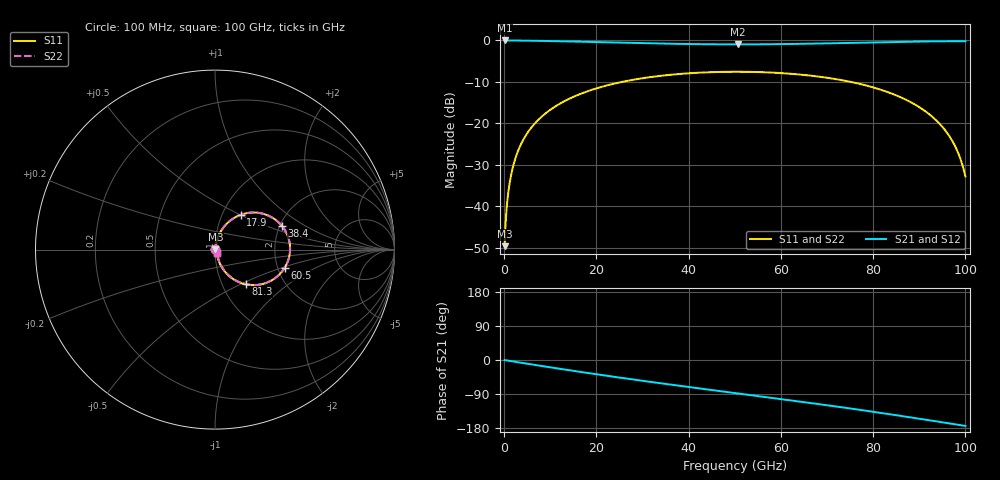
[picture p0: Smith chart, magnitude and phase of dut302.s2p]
! Touchstone file exported from HFSS 2026.1.0
!  File:  C:/ffzhzh/LocalFiles/Ansys_Project_Files/temp_train_RDL_302_1783502380_9504.aedt
!  Generated:  05:21:03 PM Jul  8, 2026
!  Design:  RDL
!  Project:  temp_train_RDL_302_1783502380_9504
! Variables:
!  h_bsmrdl = 2um
!  h_ox = 20um
!  h_rdl = 5um
!  h_sub = 80um
!  h_tmrdl = 3.47um
!  h_tsv = 80um
!  h_via = 3um
!  l_bsmrdl = 300um
!  l_sub = 992.3um
!  l_tmrdl = 592.3um
!  m_sub = 200um
!  pitch = 40.52um
!  r_tsv = 6um
!  s_tmrdl = 10um
!  w_bsmrdl = 18um
!  w_sub = 500um
!  w_tmrdl = 23.97um
!  x_tsv_center1 = 604.285um
!  x_tsv_center2 = 922.285um
!  x_tsv_center3 = 1538.555um
!  x_tsv_center4 = 1856.555um
!  x_tsv_center5 = 2472.825um
!  x_tsv_center6 = 2790.825um
# GHz S MA R 50.000000
! Terminal data exported
! Port[1] = TM_RDL1_1_T1
! Port[2] = TM_RDL1_1_T2
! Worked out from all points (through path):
!   1000 points, 100 MHz to 100 GHz, reference 50 ohm
!   highest |S21| = -0.02 dB at 100 MHz (marker M1); lowest = -1.0 dB at 50.6 GHz (marker M2)
!   group delay of S21, straight-line fit = 4.68 ps
!   lowest |S11| = -49.6 dB at 100 MHz (marker M3), VSWR 1.01, Z = 50.3 + j0.183 ohm
!   |S11| at or under -10 dB: start of sweep to 25.62 GHz; 75.08 GHz to end of sweep
!   |S22| runs from -49.6 to -7.6 dB; largest |S21 - S12| = 1.7e-14
!   S11 on the Smith chart (normalised r, x): 100 MHz: 1.01, +0.00; 17.9 GHz: 1.22, +0.50; 38.4 GHz: 2.05, +0.65; 60.5 GHz: 2.18, -0.53; 81.3 GHz: 1.29, -0.53; 100 GHz: 1.02, -0.04
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0.1  0.003304 33.5  0.9972 -0.2  0.9972 -0.2  0.003304 33.5
! Gamma 0 0 0 0
! Port Impedance 50 0 50 0
0.9  0.01473 73.9  0.9962 -1.8  0.9962 -1.8  0.01473 73.9
1.6  0.02521 77.9  0.9958 -3.2  0.9958 -3.2  0.02521 77.9
2.7  0.04179 78.7  0.9948 -5.3  0.9948 -5.3  0.0418 78.7
4.2  0.06417 77.1  0.9928 -8.3  0.9928 -8.3  0.06417 77.1
6.3  0.09463 73.8  0.9891 -12.3  0.9891 -12.3  0.09464 73.8
9.1  0.1335 68.9  0.9831 -17.7  0.9831 -17.7  0.1335 68.9
16.8  0.2291 55.4  0.9626 -31.9  0.9626 -31.9  0.2292 55.4
17.9  0.2414 53.5  0.9594 -33.9  0.9594 -33.9  0.2414 53.5
25  0.3109 41.4  0.9382 -46.4  0.9382 -46.4  0.311 41.5
33.4  0.3708 27.7  0.9157 -60.5  0.9157 -60.5  0.3709 27.7
38.4  0.3949 19.7  0.9056 -68.7  0.9056 -68.7  0.3949 19.8
50.1  0.4184 1.6  0.8947 -87.2  0.8947 -87.2  0.4185 1.6
50.6  0.4184 0.8  0.8947 -88.0  0.8947 -88.0  0.4185 0.8
60.5  0.4015 -14.6  0.9017 -103.8  0.9017 -103.8  0.4016 -14.5
66.7  0.3741 -24.4  0.9125 -113.9  0.9125 -113.9  0.3742 -24.3
81.3  0.2578 -48.6  0.9487 -139.0  0.9487 -139.0  0.258 -48.3
83.4  0.2353 -52.1  0.9539 -142.8  0.9539 -142.8  0.2355 -51.8
89.7  0.1604 -62.7  0.9675 -154.4  0.9675 -154.4  0.1606 -62.1
94.4  0.09885 -69.6  0.9744 -163.3  0.9744 -163.3  0.09915 -68.5
97.6  0.05531 -71.7  0.977 -169.4  0.977 -169.4  0.05577 -69.7
100  0.0229 -63.5  0.9777 -174.0  0.9777 -174.0  0.02387 -58.9
